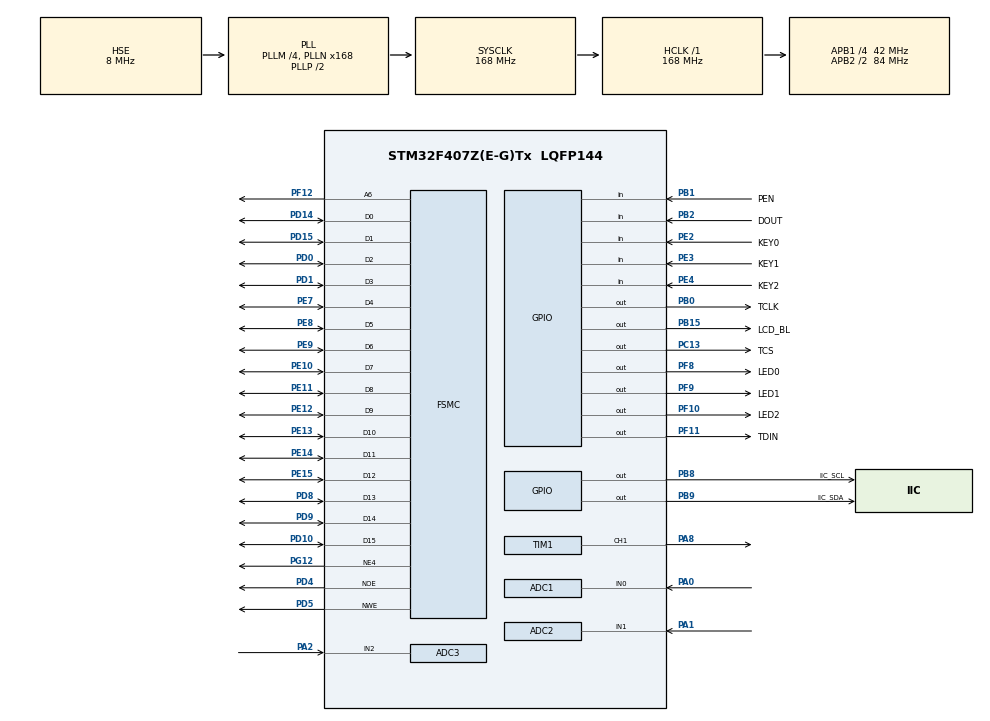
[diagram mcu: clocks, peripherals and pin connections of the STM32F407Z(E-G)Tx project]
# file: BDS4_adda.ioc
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Mcu.Family=STM32F4
PH0-OSC_IN.Signal=RCC_OSC_IN
RCC.CortexFreq_Value=168000000
SH.FSMC_D1_DA1.0=FSMC_D1,16b-d1
SH.FSMC_A6.0=FSMC_A6,A6_1
Dma.ADC3.2.Instance=DMA2_Stream1
SH.ADCx_IN2.0=ADC3_IN2,IN2
SH.FSMC_NWE.0=FSMC_NWE,Lcd1
SH.FSMC_D0_DA0.0=FSMC_D0,16b-d1
PF9.GPIO_Speed=GPIO_SPEED_FREQ_VERY_HIGH
PB0.GPIO_Label=TCLK
FSMC.ExtendedBusTurnAroundDuration1=0
ADC2.SamplingTime-4\#ChannelRegularConversion=ADC_SAMPLETIME_56CYCLES
PF10.GPIO_PuPd=GPIO_PULLUP
ADC1.SamplingTime-12\#ChannelRegularConversion=ADC_SAMPLETIME_56CYCLES
PB15.Signal=GPIO_Output
ADC3.Rank-2\#ChannelRegularConversion=1
RCC.SYSCLKSource=RCC_SYSCLKSOURCE_PLLCLK
ProjectManager.StackSize=0x400
TIM1.Prescaler=168
Dma.ADC3.2.Priority=DMA_PRIORITY_HIGH
PB1.GPIO_PuPd=GPIO_PULLUP
RCC.HCLKFreq_Value=168000000
PD4.Signal=FSMC_NOE
RCC.APB2TimFreq_Value=168000000
Dma.ADC1.0.Direction=DMA_PERIPH_TO_MEMORY
PF11.GPIO_Label=TDIN
PF12.Signal=FSMC_A6
PD0.Signal=FSMC_D2_DA2
PD8.Signal=FSMC_D13_DA13
NVIC.DMA2_Stream0_IRQn=true\:0\:0\:false\:false\:true\:false\:true
Dma.ADC1.0.MemDataAlignment=DMA_MDATAALIGN_HALFWORD
PF10.GPIO_Label=LED2
RCC.AHBFreq_Value=168000000
PH0-OSC_IN.Mode=HSE-External-Oscillator
RCC.HSE_VALUE=8000000
PB2.Signal=GPIO_Input
ADC3.SamplingTime-2\#ChannelRegularConversion=ADC_SAMPLETIME_56CYCLES
PC13-ANTI_TAMP.Signal=GPIO_Output
Dma.ADC2.1.Instance=DMA2_Stream2
PE13.Signal=FSMC_D10_DA10
SH.FSMC_D14_DA14.0=FSMC_D14,16b-d1
SH.FSMC_D10_DA10.0=FSMC_D10,16b-d1
TIM1.Channel-PWM\ Generation1\ CH1=TIM_CHANNEL_1
PE9.Signal=FSMC_D6_DA6
PF8.GPIO_PuPd=GPIO_PULLUP
PA14.Mode=Serial_Wire
PB1.GPIO_Label=PEN
PF11.Signal=GPIO_Output
Dma.ADC1.0.PeriphInc=DMA_PINC_DISABLE
SH.FSMC_D6_DA6.0=FSMC_D6,16b-d1
Dma.ADC3.2.Direction=DMA_PERIPH_TO_MEMORY
PE4.GPIO_Label=KEY2
PE2.Signal=GPIO_Input
PA8.Signal=S_TIM1_CH1
Dma.ADC2.1.PeriphInc=DMA_PINC_DISABLE
FSMC.BusTurnAroundDuration1=0
SH.ADCx_IN0.0=ADC1_IN0,IN0
ADC3.Channel-2\#ChannelRegularConversion=ADC_CHANNEL_2
PE4.Signal=GPIO_Input
PE10.Signal=FSMC_D7_DA7
SH.FSMC_D5_DA5.0=FSMC_D5,16b-d1
PB2.GPIO_PuPd=GPIO_PULLUP
SH.FSMC_D4_DA4.0=FSMC_D4,16b-d1
PH1-OSC_OUT.Mode=HSE-External-Oscillator
Mcu.Package=LQFP144
PB9.Signal=GPIO_Output
PB1.Signal=GPIO_Input
PB15.GPIO_PuPd=GPIO_PULLUP
RCC.EnbaleCSS=true
SH.FSMC_D13_DA13.0=FSMC_D13,16b-d1
PB9.GPIO_PuPd=GPIO_PULLUP
PF8.Signal=GPIO_Output
ADC2.Rank-4\#ChannelRegularConversion=1
ADC3.ClockPrescaler=ADC_CLOCK_SYNC_PCLK_DIV4
RCC.APB2CLKDivider=RCC_HCLK_DIV2
SH.ADCx_IN1.0=ADC2_IN1,IN1
PB9.GPIO_Speed=GPIO_SPEED_FREQ_VERY_HIGH
NVIC.DMA2_Stream2_IRQn=true\:0\:0\:false\:false\:true\:false\:true
SH.FSMC_D3_DA3.0=FSMC_D3,16b-d1
Dma.Request2=ADC3
Dma.Request1=ADC2
RCC.APB1TimFreq_Value=84000000
Dma.ADC1.0.FIFOMode=DMA_FIFOMODE_DISABLE
SH.FSMC_D2_DA2.0=FSMC_D2,16b-d1
TIM1.Period=10
PE7.Signal=FSMC_D4_DA4
PF9.GPIO_PuPd=GPIO_PULLUP
Dma.Request0=ADC1
PE2.GPIO_Label=KEY0
PD15.Signal=FSMC_D1_DA1
Dma.ADC2.1.PeriphDataAlignment=DMA_PDATAALIGN_HALFWORD
PG12.Signal=FSMC_NE4
ADC2.ClockPrescaler=ADC_CLOCK_SYNC_PCLK_DIV4
RCC.PLLSourceVirtual=RCC_PLLSOURCE_HSE
FSMC.ExtendedAddressSetupTime1=9
Dma.ADC3.2.MemDataAlignment=DMA_MDATAALIGN_HALFWORD
SH.FSMC_D12_DA12.0=FSMC_D12,16b-d1
Dma.ADC1.0.Instance=DMA2_Stream0
PB9.GPIO_Label=IIC_SDA
PC13-ANTI_TAMP.GPIO_Label=TCS
FSMC.ExtendedMode1=FSMC_EXTENDED_MODE_ENABLE
PB8.GPIO_PuPd=GPIO_PULLUP
PF10.GPIO_Speed=GPIO_SPEED_FREQ_VERY_HIGH
PD1.Signal=FSMC_D3_DA3
SH.FSMC_D9_DA9.0=FSMC_D9,16b-d1
PD9.Signal=FSMC_D14_DA14
PD5.Signal=FSMC_NWE
NVIC.DMA2_Stream1_IRQn=true\:0\:0\:false\:false\:true\:false\:true
RCC.APB1CLKDivider=RCC_HCLK_DIV4
PA0-WKUP.Signal=ADCx_IN0
SH.FSMC_D8_DA8.0=FSMC_D8,16b-d1
PF8.GPIO_Label=LED0
PB0.GPIO_Speed=GPIO_SPEED_FREQ_VERY_HIGH
PF11.GPIO_Speed=GPIO_SPEED_FREQ_VERY_HIGH
PD10.Signal=FSMC_D15_DA15
PA13.Signal=SYS_JTMS-SWDIO
PB8.GPIO_Label=IIC_SCL
Dma.ADC1.0.PeriphDataAlignment=DMA_PDATAALIGN_HALFWORD
SH.S_TIM1_CH1.0=TIM1_CH1,PWM Generation1 CH1
ProjectManager.TargetToolchain=STM32CubeIDE
FSMC.DataSetupTime1=60
Dma.ADC1.0.Mode=DMA_CIRCULAR
Dma.ADC1.0.Priority=DMA_PRIORITY_HIGH
Dma.ADC3.2.PeriphDataAlignment=DMA_PDATAALIGN_HALFWORD
PF9.GPIO_Label=LED1
PE11.Signal=FSMC_D8_DA8
Dma.ADC2.1.Mode=DMA_CIRCULAR
RCC.LSE_VALUE=32768
PA1.Signal=ADCx_IN1
PE2.GPIO_PuPd=GPIO_PULLUP
Dma.ADC2.1.FIFOMode=DMA_FIFOMODE_DISABLE
Dma.ADC3.2.Mode=DMA_CIRCULAR
SH.FSMC_D7_DA7.0=FSMC_D7,16b-d1
FSMC.ExtendedDataSetupTime1=8
board=custom
PG12.Mode=NorPsramChipSelect4_1
ADC1.Rank-12\#ChannelRegularConversion=1
RCC.VCOOutputFreq_Value=336000000
ADC1.Channel-12\#ChannelRegularConversion=ADC_CHANNEL_0
RCC.APB2Freq_Value=84000000
PE14.Signal=FSMC_D11_DA11
PE15.Signal=FSMC_D12_DA12
PB15.GPIO_Label=LCD_BL
PE8.Signal=FSMC_D5_DA5
PF10.Signal=GPIO_Output
PB15.GPIO_Speed=GPIO_SPEED_FREQ_MEDIUM
PE3.GPIO_PuPd=GPIO_PULLUP
PH1-OSC_OUT.Signal=RCC_OSC_OUT
Dma.ADC3.2.MemInc=DMA_MINC_ENABLE
Dma.ADC2.1.MemInc=DMA_MINC_ENABLE
PA13.Mode=Serial_Wire
Mcu.Name=STM32F407Z(E-G)Tx
PE12.Signal=FSMC_D9_DA9
PA2.Signal=ADCx_IN2
PE4.GPIO_PuPd=GPIO_PULLUP
PD14.Signal=FSMC_D0_DA0
RCC.48MHZClocksFreq_Value=84000000
RCC.SYSCLKFreq_VALUE=168000000
Dma.ADC2.1.Direction=DMA_PERIPH_TO_MEMORY
ADC1.master=1
ADC2.NbrOfConversionFlag=1
Dma.ADC3.2.PeriphInc=DMA_PINC_DISABLE
SH.FSMC_D15_DA15.0=FSMC_D15,16b-d1
PA14.Signal=SYS_JTCK-SWCLK
Dma.ADC1.0.MemInc=DMA_MINC_ENABLE
PB2.GPIO_Label=DOUT
ProjectManager.HeapSize=0x200
SH.FSMC_D11_DA11.0=FSMC_D11,16b-d1
SH.FSMC_NOE.0=FSMC_NOE,Lcd1
PF9.Signal=GPIO_Output
RCC.HSI_VALUE=16000000
NVIC.PriorityGroup=NVIC_PRIORITYGROUP_4
ADC1.NbrOfConversionFlag=1
Dma.ADC2.1.MemDataAlignment=DMA_MDATAALIGN_HALFWORD
RCC.PLLM=4
RCC.PLLN=168
PF8.GPIO_Speed=GPIO_SPEED_FREQ_VERY_HIGH
PE3.Signal=GPIO_Input
PB8.Signal=GPIO_Output
PE3.GPIO_Label=KEY1
Dma.ADC2.1.Priority=DMA_PRIORITY_HIGH
RCC.APB1Freq_Value=42000000
PB8.GPIO_Speed=GPIO_SPEED_FREQ_VERY_HIGH
ADC3.NbrOfConversionFlag=1
PB0.Signal=GPIO_Output
ADC2.Channel-4\#ChannelRegularConversion=ADC_CHANNEL_1
ADC1.ClockPrescaler=ADC_CLOCK_SYNC_PCLK_DIV4
Dma.ADC3.2.FIFOMode=DMA_FIFOMODE_DISABLE
PB0.GPIO_PuPd=GPIO_PULLUP

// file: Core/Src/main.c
/* USER CODE BEGIN Header */
/**
  ******************************************************************************
  * @file           : main.c
  * @brief          : Main program body
  ******************************************************************************
  * @attention
  *
  * <h2><center>&copy; Copyright (c) 2021 STMicroelectronics.
  * All rights reserved.</center></h2>
  *
  * This software component is licensed by ST under BSD 3-Clause license,
  * the "License"; You may not use this file except in compliance with the
  * License. You may obtain a copy of the License at:
  *                        opensource.org/licenses/BSD-3-Clause
  *
  ******************************************************************************
  */
/* USER CODE END Header */
#include "main.h"

/* USER CODE BEGIN Includes */
#include "lcd.h"
#include "obase.h"
/* USER CODE END Includes */

/* USER CODE BEGIN PTD */
enum
{
	DISCHARGE=1, A_CHARGE, V_CHARGE
} STATE;
/* USER CODE END PTD */

ADC_HandleTypeDef hadc1;
ADC_HandleTypeDef hadc2;
ADC_HandleTypeDef hadc3;
DMA_HandleTypeDef hdma_adc1;
DMA_HandleTypeDef hdma_adc2;
DMA_HandleTypeDef hdma_adc3;

TIM_HandleTypeDef htim1;

SRAM_HandleTypeDef hsram1;

/* USER CODE BEGIN PV */
uint32_t Current;
uint32_t Voltage_Front;
uint32_t Voltage_Behind;
uint8_t flag=0;
/* USER CODE END PV */

void SystemClock_Config(void);
static void MX_GPIO_Init(void);
static void MX_DMA_Init(void);
static void MX_ADC1_Init(void);
static void MX_TIM1_Init(void);
static void MX_ADC2_Init(void);
static void MX_ADC3_Init(void);
static void MX_FSMC_Init(void);

int main(void)
{

  /* MCU Configuration--------------------------------------------------------*/

  /* Reset of all peripherals, Initializes the Flash interface and the Systick. */
  HAL_Init();

  /* Configure the system clock */
  SystemClock_Config();

  /* Initialize all configured peripherals */
  MX_GPIO_Init();
  MX_DMA_Init();
  MX_ADC1_Init();
  MX_TIM1_Init();
  MX_ADC2_Init();
  MX_ADC3_Init();
  MX_FSMC_Init();
  /* USER CODE BEGIN 2 */
  LCD_Init();
  tp_dev.init();
  POINT_COLOR=RED;
  HAL_ADC_Start_DMA(&hadc1, &Current, 10);
  HAL_ADC_Start_DMA(&hadc1, &Voltage_Front, 10);
  HAL_ADC_Start_DMA(&hadc1, &Voltage_Behind, 10);

  /* USER CODE END 2 */

  /* Infinite loop */
  /* USER CODE BEGIN WHILE */
  HAL_GPIO_WritePin(LED0_GPIO_Port, LED0_Pin, GPIO_PIN_RESET);
  HAL_GPIO_WritePin(LED1_GPIO_Port, LED1_Pin, GPIO_PIN_RESET);
  HAL_GPIO_WritePin(LED2_GPIO_Port, LED2_Pin, GPIO_PIN_RESET);
  while (1)
  {
    /* USER CODE END WHILE */

    /* USER CODE BEGIN 3 */
	  tp_dev.scan(0);
	  LCD_DrawPoint(tp_dev.x[0],tp_dev.y[0]);
  }
  /* USER CODE END 3 */
}

void SystemClock_Config(void)
{
  RCC_OscInitTypeDef RCC_OscInitStruct = {0};
  RCC_ClkInitTypeDef RCC_ClkInitStruct = {0};

  /** Configure the main internal regulator output voltage
  */
  __HAL_RCC_PWR_CLK_ENABLE();
  __HAL_PWR_VOLTAGESCALING_CONFIG(PWR_REGULATOR_VOLTAGE_SCALE1);
  /** Initializes the RCC Oscillators according to the specified parameters
  * in the RCC_OscInitTypeDef structure.
  */
  RCC_OscInitStruct.OscillatorType = RCC_OSCILLATORTYPE_HSE;
  RCC_OscInitStruct.HSEState = RCC_HSE_ON;
  RCC_OscInitStruct.PLL.PLLState = RCC_PLL_ON;
  RCC_OscInitStruct.PLL.PLLSource = RCC_PLLSOURCE_HSE;
  RCC_OscInitStruct.PLL.PLLM = 4;
  RCC_OscInitStruct.PLL.PLLN = 168;
  RCC_OscInitStruct.PLL.PLLP = RCC_PLLP_DIV2;
  RCC_OscInitStruct.PLL.PLLQ = 4;
  if (HAL_RCC_OscConfig(&RCC_OscInitStruct) != HAL_OK)
  {
    Error_Handler();
  }
  /** Initializes the CPU, AHB and APB buses clocks
  */
  RCC_ClkInitStruct.ClockType = RCC_CLOCKTYPE_HCLK|RCC_CLOCKTYPE_SYSCLK
                              |RCC_CLOCKTYPE_PCLK1|RCC_CLOCKTYPE_PCLK2;
  RCC_ClkInitStruct.SYSCLKSource = RCC_SYSCLKSOURCE_PLLCLK;
  RCC_ClkInitStruct.AHBCLKDivider = RCC_SYSCLK_DIV1;
  RCC_ClkInitStruct.APB1CLKDivider = RCC_HCLK_DIV4;
  RCC_ClkInitStruct.APB2CLKDivider = RCC_HCLK_DIV2;

  if (HAL_RCC_ClockConfig(&RCC_ClkInitStruct, FLASH_LATENCY_5) != HAL_OK)
  {
    Error_Handler();
  }
  /** Enables the Clock Security System
  */
  HAL_RCC_EnableCSS();
}

static void MX_ADC1_Init(void)
{

  ADC_ChannelConfTypeDef sConfig = {0};

  /** Configure the global features of the ADC (Clock, Resolution, Data Alignment and number of conversion)
  */
  hadc1.Instance = ADC1;
  hadc1.Init.ClockPrescaler = ADC_CLOCK_SYNC_PCLK_DIV4;
  hadc1.Init.Resolution = ADC_RESOLUTION_12B;
  hadc1.Init.ScanConvMode = DISABLE;
  hadc1.Init.ContinuousConvMode = DISABLE;
  hadc1.Init.DiscontinuousConvMode = DISABLE;
  hadc1.Init.ExternalTrigConvEdge = ADC_EXTERNALTRIGCONVEDGE_NONE;
  hadc1.Init.ExternalTrigConv = ADC_SOFTWARE_START;
  hadc1.Init.DataAlign = ADC_DATAALIGN_RIGHT;
  hadc1.Init.NbrOfConversion = 1;
  hadc1.Init.DMAContinuousRequests = DISABLE;
  hadc1.Init.EOCSelection = ADC_EOC_SINGLE_CONV;
  if (HAL_ADC_Init(&hadc1) != HAL_OK)
  {
    Error_Handler();
  }
  /** Configure for the selected ADC regular channel its corresponding rank in the sequencer and its sample time.
  */
  sConfig.Channel = ADC_CHANNEL_0;
  sConfig.Rank = 1;
  sConfig.SamplingTime = ADC_SAMPLETIME_56CYCLES;
  if (HAL_ADC_ConfigChannel(&hadc1, &sConfig) != HAL_OK)
  {
    Error_Handler();
  }

}

static void MX_ADC2_Init(void)
{

  ADC_ChannelConfTypeDef sConfig = {0};

  /** Configure the global features of the ADC (Clock, Resolution, Data Alignment and number of conversion)
  */
  hadc2.Instance = ADC2;
  hadc2.Init.ClockPrescaler = ADC_CLOCK_SYNC_PCLK_DIV4;
  hadc2.Init.Resolution = ADC_RESOLUTION_12B;
  hadc2.Init.ScanConvMode = DISABLE;
  hadc2.Init.ContinuousConvMode = DISABLE;
  hadc2.Init.DiscontinuousConvMode = DISABLE;
  hadc2.Init.ExternalTrigConvEdge = ADC_EXTERNALTRIGCONVEDGE_NONE;
  hadc2.Init.ExternalTrigConv = ADC_SOFTWARE_START;
  hadc2.Init.DataAlign = ADC_DATAALIGN_RIGHT;
  hadc2.Init.NbrOfConversion = 1;
  hadc2.Init.DMAContinuousRequests = DISABLE;
  hadc2.Init.EOCSelection = ADC_EOC_SINGLE_CONV;
  if (HAL_ADC_Init(&hadc2) != HAL_OK)
  {
    Error_Handler();
  }
  /** Configure for the selected ADC regular channel its corresponding rank in the sequencer and its sample time.
  */
  sConfig.Channel = ADC_CHANNEL_1;
  sConfig.Rank = 1;
  sConfig.SamplingTime = ADC_SAMPLETIME_56CYCLES;
  if (HAL_ADC_ConfigChannel(&hadc2, &sConfig) != HAL_OK)
  {
    Error_Handler();
  }

}

static void MX_ADC3_Init(void)
{

  ADC_ChannelConfTypeDef sConfig = {0};

  /** Configure the global features of the ADC (Clock, Resolution, Data Alignment and number of conversion)
  */
  hadc3.Instance = ADC3;
  hadc3.Init.ClockPrescaler = ADC_CLOCK_SYNC_PCLK_DIV4;
  hadc3.Init.Resolution = ADC_RESOLUTION_12B;
  hadc3.Init.ScanConvMode = DISABLE;
  hadc3.Init.ContinuousConvMode = DISABLE;
  hadc3.Init.DiscontinuousConvMode = DISABLE;
  hadc3.Init.ExternalTrigConvEdge = ADC_EXTERNALTRIGCONVEDGE_NONE;
  hadc3.Init.ExternalTrigConv = ADC_SOFTWARE_START;
  hadc3.Init.DataAlign = ADC_DATAALIGN_RIGHT;
  hadc3.Init.NbrOfConversion = 1;
  hadc3.Init.DMAContinuousRequests = DISABLE;
  hadc3.Init.EOCSelection = ADC_EOC_SINGLE_CONV;
  if (HAL_ADC_Init(&hadc3) != HAL_OK)
  {
    Error_Handler();
  }
  /** Configure for the selected ADC regular channel its corresponding rank in the sequencer and its sample time.
  */
  sConfig.Channel = ADC_CHANNEL_2;
  sConfig.Rank = 1;
  sConfig.SamplingTime = ADC_SAMPLETIME_56CYCLES;
  if (HAL_ADC_ConfigChannel(&hadc3, &sConfig) != HAL_OK)
  {
    Error_Handler();
  }

}

static void MX_TIM1_Init(void)
{

  TIM_MasterConfigTypeDef sMasterConfig = {0};
  TIM_OC_InitTypeDef sConfigOC = {0};
  TIM_BreakDeadTimeConfigTypeDef sBreakDeadTimeConfig = {0};

  htim1.Instance = TIM1;
  htim1.Init.Prescaler = 168;
  htim1.Init.CounterMode = TIM_COUNTERMODE_UP;
  htim1.Init.Period = 10;
  htim1.Init.ClockDivision = TIM_CLOCKDIVISION_DIV1;
  htim1.Init.RepetitionCounter = 0;
  htim1.Init.AutoReloadPreload = TIM_AUTORELOAD_PRELOAD_DISABLE;
  if (HAL_TIM_PWM_Init(&htim1) != HAL_OK)
  {
    Error_Handler();
  }
  sMasterConfig.MasterOutputTrigger = TIM_TRGO_RESET;
  sMasterConfig.MasterSlaveMode = TIM_MASTERSLAVEMODE_DISABLE;
  if (HAL_TIMEx_MasterConfigSynchronization(&htim1, &sMasterConfig) != HAL_OK)
  {
    Error_Handler();
  }
  sConfigOC.OCMode = TIM_OCMODE_PWM1;
  sConfigOC.Pulse = 0;
  sConfigOC.OCPolarity = TIM_OCPOLARITY_HIGH;
  sConfigOC.OCNPolarity = TIM_OCNPOLARITY_HIGH;
  sConfigOC.OCFastMode = TIM_OCFAST_DISABLE;
  sConfigOC.OCIdleState = TIM_OCIDLESTATE_RESET;
  sConfigOC.OCNIdleState = TIM_OCNIDLESTATE_RESET;
  if (HAL_TIM_PWM_ConfigChannel(&htim1, &sConfigOC, TIM_CHANNEL_1) != HAL_OK)
  {
    Error_Handler();
  }
  sBreakDeadTimeConfig.OffStateRunMode = TIM_OSSR_DISABLE;
  sBreakDeadTimeConfig.OffStateIDLEMode = TIM_OSSI_DISABLE;
  sBreakDeadTimeConfig.LockLevel = TIM_LOCKLEVEL_OFF;
  sBreakDeadTimeConfig.DeadTime = 0;
  sBreakDeadTimeConfig.BreakState = TIM_BREAK_DISABLE;
  sBreakDeadTimeConfig.BreakPolarity = TIM_BREAKPOLARITY_HIGH;
  sBreakDeadTimeConfig.AutomaticOutput = TIM_AUTOMATICOUTPUT_DISABLE;
  if (HAL_TIMEx_ConfigBreakDeadTime(&htim1, &sBreakDeadTimeConfig) != HAL_OK)
  {
    Error_Handler();
  }
  HAL_TIM_MspPostInit(&htim1);

}

static void MX_DMA_Init(void)
{

  /* DMA controller clock enable */
  __HAL_RCC_DMA2_CLK_ENABLE();

  /* DMA interrupt init */
  /* DMA2_Stream0_IRQn interrupt configuration */
  HAL_NVIC_SetPriority(DMA2_Stream0_IRQn, 0, 0);
  HAL_NVIC_EnableIRQ(DMA2_Stream0_IRQn);
  /* DMA2_Stream1_IRQn interrupt configuration */
  HAL_NVIC_SetPriority(DMA2_Stream1_IRQn, 0, 0);
  HAL_NVIC_EnableIRQ(DMA2_Stream1_IRQn);
  /* DMA2_Stream2_IRQn interrupt configuration */
  HAL_NVIC_SetPriority(DMA2_Stream2_IRQn, 0, 0);
  HAL_NVIC_EnableIRQ(DMA2_Stream2_IRQn);

}

static void MX_GPIO_Init(void)
{
  GPIO_InitTypeDef GPIO_InitStruct = {0};

  /* GPIO Ports Clock Enable */
  __HAL_RCC_GPIOE_CLK_ENABLE();
  __HAL_RCC_GPIOC_CLK_ENABLE();
  __HAL_RCC_GPIOF_CLK_ENABLE();
  __HAL_RCC_GPIOH_CLK_ENABLE();
  __HAL_RCC_GPIOA_CLK_ENABLE();
  __HAL_RCC_GPIOB_CLK_ENABLE();
  __HAL_RCC_GPIOD_CLK_ENABLE();
  __HAL_RCC_GPIOG_CLK_ENABLE();

  /*Configure GPIO pin Output Level */
  HAL_GPIO_WritePin(TCS_GPIO_Port, TCS_Pin, GPIO_PIN_RESET);

  /*Configure GPIO pin Output Level */
  HAL_GPIO_WritePin(GPIOF, LED0_Pin|LED1_Pin|LED2_Pin|TDIN_Pin, GPIO_PIN_RESET);

  /*Configure GPIO pin Output Level */
  HAL_GPIO_WritePin(GPIOB, TCLK_Pin|LCD_BL_Pin|IIC_SCL_Pin|IIC_SDA_Pin, GPIO_PIN_RESET);

  /*Configure GPIO pins : KEY0_Pin KEY1_Pin KEY2_Pin */
  GPIO_InitStruct.Pin = KEY0_Pin|KEY1_Pin|KEY2_Pin;
  GPIO_InitStruct.Mode = GPIO_MODE_INPUT;
  GPIO_InitStruct.Pull = GPIO_PULLUP;
  HAL_GPIO_Init(GPIOE, &GPIO_InitStruct);

  /*Configure GPIO pin : TCS_Pin */
  GPIO_InitStruct.Pin = TCS_Pin;
  GPIO_InitStruct.Mode = GPIO_MODE_OUTPUT_PP;
  GPIO_InitStruct.Pull = GPIO_NOPULL;
  GPIO_InitStruct.Speed = GPIO_SPEED_FREQ_LOW;
  HAL_GPIO_Init(TCS_GPIO_Port, &GPIO_InitStruct);

  /*Configure GPIO pins : LED0_Pin LED1_Pin LED2_Pin */
  GPIO_InitStruct.Pin = LED0_Pin|LED1_Pin|LED2_Pin;
  GPIO_InitStruct.Mode = GPIO_MODE_OUTPUT_PP;
  GPIO_InitStruct.Pull = GPIO_PULLUP;
  GPIO_InitStruct.Speed = GPIO_SPEED_FREQ_VERY_HIGH;
  HAL_GPIO_Init(GPIOF, &GPIO_InitStruct);

  /*Configure GPIO pins : TCLK_Pin IIC_SCL_Pin IIC_SDA_Pin */
  GPIO_InitStruct.Pin = TCLK_Pin|IIC_SCL_Pin|IIC_SDA_Pin;
  GPIO_InitStruct.Mode = GPIO_MODE_OUTPUT_PP;
  GPIO_InitStruct.Pull = GPIO_PULLUP;
  GPIO_InitStruct.Speed = GPIO_SPEED_FREQ_VERY_HIGH;
  HAL_GPIO_Init(GPIOB, &GPIO_InitStruct);

  /*Configure GPIO pins : PEN_Pin DOUT_Pin */
  GPIO_InitStruct.Pin = PEN_Pin|DOUT_Pin;
  GPIO_InitStruct.Mode = GPIO_MODE_INPUT;
  GPIO_InitStruct.Pull = GPIO_PULLUP;
  HAL_GPIO_Init(GPIOB, &GPIO_InitStruct);

  /*Configure GPIO pin : TDIN_Pin */
  GPIO_InitStruct.Pin = TDIN_Pin;
  GPIO_InitStruct.Mode = GPIO_MODE_OUTPUT_PP;
  GPIO_InitStruct.Pull = GPIO_NOPULL;
  GPIO_InitStruct.Speed = GPIO_SPEED_FREQ_VERY_HIGH;
  HAL_GPIO_Init(TDIN_GPIO_Port, &GPIO_InitStruct);

  /*Configure GPIO pin : LCD_BL_Pin */
  GPIO_InitStruct.Pin = LCD_BL_Pin;
  GPIO_InitStruct.Mode = GPIO_MODE_OUTPUT_PP;
  GPIO_InitStruct.Pull = GPIO_PULLUP;
  GPIO_InitStruct.Speed = GPIO_SPEED_FREQ_MEDIUM;
  HAL_GPIO_Init(LCD_BL_GPIO_Port, &GPIO_InitStruct);

}

/* FSMC initialization function */
static void MX_FSMC_Init(void)
{

  FSMC_NORSRAM_TimingTypeDef Timing = {0};
  FSMC_NORSRAM_TimingTypeDef ExtTiming = {0};

  /** Perform the SRAM1 memory initialization sequence
  */
  hsram1.Instance = FSMC_NORSRAM_DEVICE;
  hsram1.Extended = FSMC_NORSRAM_EXTENDED_DEVICE;
  /* hsram1.Init */
  hsram1.Init.NSBank = FSMC_NORSRAM_BANK4;
  hsram1.Init.DataAddressMux = FSMC_DATA_ADDRESS_MUX_DISABLE;
  hsram1.Init.MemoryType = FSMC_MEMORY_TYPE_SRAM;
  hsram1.Init.MemoryDataWidth = FSMC_NORSRAM_MEM_BUS_WIDTH_16;
  hsram1.Init.BurstAccessMode = FSMC_BURST_ACCESS_MODE_DISABLE;
  hsram1.Init.WaitSignalPolarity = FSMC_WAIT_SIGNAL_POLARITY_LOW;
  hsram1.Init.WrapMode = FSMC_WRAP_MODE_DISABLE;
  hsram1.Init.WaitSignalActive = FSMC_WAIT_TIMING_BEFORE_WS;
  hsram1.Init.WriteOperation = FSMC_WRITE_OPERATION_ENABLE;
  hsram1.Init.WaitSignal = FSMC_WAIT_SIGNAL_DISABLE;
  hsram1.Init.ExtendedMode = FSMC_EXTENDED_MODE_ENABLE;
  hsram1.Init.AsynchronousWait = FSMC_ASYNCHRONOUS_WAIT_DISABLE;
  hsram1.Init.WriteBurst = FSMC_WRITE_BURST_DISABLE;
  hsram1.Init.PageSize = FSMC_PAGE_SIZE_NONE;
  /* Timing */
  Timing.AddressSetupTime = 15;
  Timing.AddressHoldTime = 15;
  Timing.DataSetupTime = 60;
  Timing.BusTurnAroundDuration = 0;
  Timing.CLKDivision = 16;
  Timing.DataLatency = 17;
  Timing.AccessMode = FSMC_ACCESS_MODE_A;
  /* ExtTiming */
  ExtTiming.AddressSetupTime = 9;
  ExtTiming.AddressHoldTime = 15;
  ExtTiming.DataSetupTime = 8;
  ExtTiming.BusTurnAroundDuration = 0;
  ExtTiming.CLKDivision = 16;
  ExtTiming.DataLatency = 17;
  ExtTiming.AccessMode = FSMC_ACCESS_MODE_A;

  if (HAL_SRAM_Init(&hsram1, &Timing, &ExtTiming) != HAL_OK)
  {
    Error_Handler( );
  }

}

void Error_Handler(void)
{
  __disable_irq();
  while (1)
  {
  }
}

/************************ (C) COPYRIGHT STMicroelectronics *****END OF FILE****/
